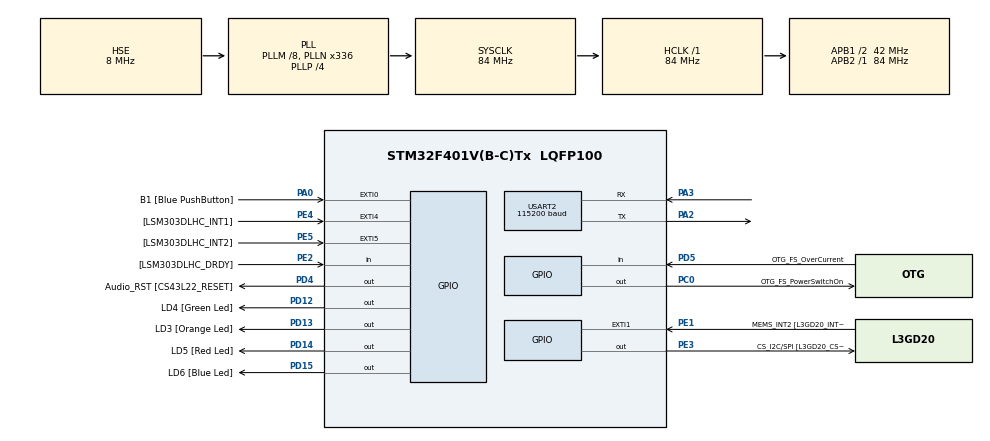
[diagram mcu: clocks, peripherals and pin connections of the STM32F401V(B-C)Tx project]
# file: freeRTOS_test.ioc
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Dma.Request0=USART2_TX
Dma.Request1=USART2_RX
Dma.USART2_RX.1.Channel=DMA_CHANNEL_4
Dma.USART2_RX.1.Direction=DMA_PERIPH_TO_MEMORY
Dma.USART2_RX.1.FIFOMode=DMA_FIFOMODE_DISABLE
Dma.USART2_RX.1.Instance=DMA1_Stream5
Dma.USART2_RX.1.MemDataAlignment=DMA_MDATAALIGN_BYTE
Dma.USART2_RX.1.MemInc=DMA_MINC_ENABLE
Dma.USART2_RX.1.Mode=DMA_NORMAL
Dma.USART2_RX.1.PeriphDataAlignment=DMA_PDATAALIGN_BYTE
Dma.USART2_RX.1.PeriphInc=DMA_PINC_DISABLE
Dma.USART2_RX.1.Priority=DMA_PRIORITY_LOW
Dma.USART2_TX.0.Channel=DMA_CHANNEL_4
Dma.USART2_TX.0.Direction=DMA_MEMORY_TO_PERIPH
Dma.USART2_TX.0.FIFOMode=DMA_FIFOMODE_DISABLE
Dma.USART2_TX.0.Instance=DMA1_Stream6
Dma.USART2_TX.0.MemDataAlignment=DMA_MDATAALIGN_BYTE
Dma.USART2_TX.0.MemInc=DMA_MINC_ENABLE
Dma.USART2_TX.0.Mode=DMA_NORMAL
Dma.USART2_TX.0.PeriphDataAlignment=DMA_PDATAALIGN_BYTE
Dma.USART2_TX.0.PeriphInc=DMA_PINC_DISABLE
Dma.USART2_TX.0.Priority=DMA_PRIORITY_LOW
FREERTOS.Tasks01=IndicatorTask,0,128,StartIndicatorTask;UARTReceiveTask,-3,128,StartUARTReceiveTask
Mcu.Family=STM32F4
Mcu.Name=STM32F401V(B-C)Tx
Mcu.Package=LQFP100
NVIC.DMA1_Stream5_IRQn=true\:5\:0\:false
NVIC.DMA1_Stream6_IRQn=true\:5\:0\:false
NVIC.PriorityGroup=NVIC_PRIORITYGROUP_4
NVIC.USART2_IRQn=true\:5\:0\:false
PA0-WKUP.GPIO_Label=B1 [Blue PushButton]
PA0-WKUP.GPIO_ModeDefaultEXTI=GPIO_MODE_EVT_RISING
PA0-WKUP.Signal=GPXTI0
PA10.GPIO_Label=OTG_FS_ID
PA10.Signal=USB_OTG_FS_ID
PA11.GPIO_Label=OTG_FS_DM
PA11.Signal=USB_OTG_FS_DM
PA12.GPIO_Label=OTG_FS_DP
PA12.Signal=USB_OTG_FS_DP
PA13.GPIO_Label=SWDIO
PA13.Mode=Trace-Asynchronous_SW
PA13.Signal=SYS_JTMS-SWDIO
PA14.GPIO_Label=SWCLK
PA14.Mode=Trace-Asynchronous_SW
PA14.Signal=SYS_JTCK-SWCLK
PA2.Mode=Asynchronous
PA2.Signal=USART2_TX
PA3.Mode=Asynchronous
PA3.Signal=USART2_RX
PA4.GPIO_Label=I2S3_WS [CS43L22_LRCK]
PA4.GPIO_Mode=GPIO_MODE_AF_PP
PA4.GPIO_PuPd=GPIO_NOPULL
PA4.GPIO_Speed=GPIO_SPEED_LOW
PA4.Signal=I2S3_WS
PA5.GPIO_Label=SPI1_SCK [L3GD20_SC/SPC]
PA5.Signal=SPI1_SCK
PA6.GPIO_Label=SPI1_MISO [L3GD20_AS0/SDO]
PA6.Signal=SPI1_MISO
PA7.GPIO_Label=SPI1_MISO [L3GD20_SDA/SDI/SDO]
PA7.Signal=SPI1_MOSI
PA9.GPIO_Label=VBUS_FS
PA9.Signal=USB_OTG_FS_VBUS
PB10.GPIO_Label=CLK_IN [MP45DT02_CLK]
PB10.Signal=I2S2_CK
PB12.Signal=I2S2_WS
PB3.GPIO_Label=SWO
PB3.Mode=Trace-Asynchronous_SW
PB3.Signal=SYS_JTDO-SWO
PB6.GPIO_Label=Audio_SCL [CS43L22_SCL]
PB6.GPIO_Mode=GPIO_MODE_AF_OD
PB6.GPIO_PuPd=GPIO_NOPULL
PB6.GPIO_Speed=GPIO_SPEED_LOW
PB6.Signal=I2C1_SCL
PB9.GPIO_Label=Audio_SDA [CS43L22_SDA]
PB9.GPIO_Mode=GPIO_MODE_AF_OD
PB9.GPIO_PuPd=GPIO_NOPULL
PB9.GPIO_Speed=GPIO_SPEED_LOW
PB9.Signal=I2C1_SDA
PC0.GPIO_Label=OTG_FS_PowerSwitchOn
PC0.Signal=GPIO_Output
PC10.GPIO_Label=I2S3_SCK [CS43L22_SCLK]
PC10.GPIO_Mode=GPIO_MODE_AF_PP
PC10.GPIO_PuPd=GPIO_NOPULL
PC10.GPIO_Speed=GPIO_SPEED_LOW
PC10.Signal=I2S3_CK
PC12.GPIO_Label=I2S3_SD [CS43L22_SDIN]
PC12.GPIO_Mode=GPIO_MODE_AF_PP
PC12.GPIO_PuPd=GPIO_NOPULL
PC12.GPIO_Speed=GPIO_SPEED_LOW
PC12.Signal=I2S3_SD
PC3.GPIO_Label=PDM_OUT [MP45DT02_DOUT]
PC3.Signal=I2S2_SD
PC7.GPIO_Label=I2S3_MCK [CS43L22_MCLK]
PC7.GPIO_Mode=GPIO_MODE_AF_PP
PC7.GPIO_PuPd=GPIO_NOPULL
PC7.GPIO_Speed=GPIO_SPEED_LOW
PC7.Signal=I2S3_MCK
PD12.GPIO_Label=LD4 [Green Led]
PD12.GPIO_PuPd=GPIO_NOPULL
PD12.GPIO_Speed=GPIO_SPEED_LOW
PD12.Signal=GPIO_Output
PD13.GPIO_Label=LD3 [Orange Led]
PD13.GPIO_PuPd=GPIO_NOPULL
PD13.GPIO_Speed=GPIO_SPEED_LOW
PD13.Signal=GPIO_Output
PD14.GPIO_Label=LD5 [Red Led]
PD14.GPIO_PuPd=GPIO_NOPULL
PD14.GPIO_Speed=GPIO_SPEED_LOW
PD14.Signal=GPIO_Output
PD15.GPIO_Label=LD6 [Blue Led]
PD15.GPIO_PuPd=GPIO_NOPULL
PD15.GPIO_Speed=GPIO_SPEED_LOW
PD15.Signal=GPIO_Output
PD4.GPIO_Label=Audio_RST [CS43L22_RESET]
PD4.Signal=GPIO_Output
PD5.GPIO_Label=OTG_FS_OverCurrent
PD5.Signal=GPIO_Input
PE1.GPIO_Label=MEMS_INT2 [L3GD20_INT2]
PE1.GPIO_ModeDefaultEXTI=GPIO_MODE_EVT_RISING
PE1.Signal=GPXTI1
PE2.GPIO_Label=[LSM303DLHC_DRDY]
PE2.Signal=GPIO_Input
PE3.GPIO_Label=CS_I2C/SPI [L3GD20_CS_I2C/SPI]
PE3.Signal=GPIO_Output
PE4.GPIO_Label=[LSM303DLHC_INT1]
PE4.GPIO_ModeDefaultEXTI=GPIO_MODE_EVT_RISING
PE4.Signal=GPXTI4
PE5.GPIO_Label=[LSM303DLHC_INT2]
PE5.GPIO_ModeDefaultEXTI=GPIO_MODE_EVT_RISING
PE5.Signal=GPXTI5
PH0\ -\ OSC_IN.GPIO_Label=PH0-OSC_IN
PH0\ -\ OSC_IN.Mode=HSE-External-Oscillator
PH0\ -\ OSC_IN.Signal=RCC_OSC_IN
PH1\ -\ OSC_OUT.GPIO_Label=PH1-OSC_OUT
PH1\ -\ OSC_OUT.Mode=HSE-External-Oscillator
PH1\ -\ OSC_OUT.Signal=RCC_OSC_OUT
ProjectManager.TargetToolchain=SW4STM32
RCC.48MHZClocksFreq_Value=48000000
RCC.AHBFreq_Value=84000000
RCC.APB1CLKDivider=RCC_HCLK_DIV2
RCC.APB1Freq_Value=42000000
RCC.APB1TimFreq_Value=84000000
RCC.APB2Freq_Value=84000000
RCC.APB2TimFreq_Value=84000000
RCC.CortexFreq_Value=84000000
RCC.HCLKFreq_Value=84000000
RCC.HSE_VALUE=8000000
RCC.HSI_VALUE=16000000
RCC.LSE_VALUE=32768
RCC.PLLM=8
RCC.PLLN=336
RCC.PLLP=RCC_PLLP_DIV4
RCC.PLLQ=7
RCC.PLLSourceVirtual=RCC_PLLSOURCE_HSE
RCC.SYSCLKFreq_VALUE=84000000
RCC.SYSCLKSource=RCC_SYSCLKSOURCE_PLLCLK
RCC.VCOOutputFreq_Value=336000000
USART2.BaudRate=115200
VP_FREERTOS_VS_ENABLE.Mode=Enabled
board=STM32F401C-DISCO

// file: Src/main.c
/**
  ******************************************************************************
  * File Name          : main.c
  * Description        : Main program body
  ******************************************************************************
  *
  * COPYRIGHT(c) 2016 STMicroelectronics
  *
  * Redistribution and use in source and binary forms, with or without modification,
  * are permitted provided that the following conditions are met:
  *   1. Redistributions of source code must retain the above copyright notice,
  *      this list of conditions and the following disclaimer.
  *   2. Redistributions in binary form must reproduce the above copyright notice,
  *      this list of conditions and the following disclaimer in the documentation
  *      and/or other materials provided with the distribution.
  *   3. Neither the name of STMicroelectronics nor the names of its contributors
  *      may be used to endorse or promote products derived from this software
  *      without specific prior written permission.
  *
  * THIS SOFTWARE IS PROVIDED BY THE COPYRIGHT HOLDERS AND CONTRIBUTORS "AS IS"
  * AND ANY EXPRESS OR IMPLIED WARRANTIES, INCLUDING, BUT NOT LIMITED TO, THE
  * IMPLIED WARRANTIES OF MERCHANTABILITY AND FITNESS FOR A PARTICULAR PURPOSE ARE
  * DISCLAIMED. IN NO EVENT SHALL THE COPYRIGHT HOLDER OR CONTRIBUTORS BE LIABLE
  * FOR ANY DIRECT, INDIRECT, INCIDENTAL, SPECIAL, EXEMPLARY, OR CONSEQUENTIAL
  * DAMAGES (INCLUDING, BUT NOT LIMITED TO, PROCUREMENT OF SUBSTITUTE GOODS OR
  * SERVICES; LOSS OF USE, DATA, OR PROFITS; OR BUSINESS INTERRUPTION) HOWEVER
  * CAUSED AND ON ANY THEORY OF LIABILITY, WHETHER IN CONTRACT, STRICT LIABILITY,
  * OR TORT (INCLUDING NEGLIGENCE OR OTHERWISE) ARISING IN ANY WAY OUT OF THE USE
  * OF THIS SOFTWARE, EVEN IF ADVISED OF THE POSSIBILITY OF SUCH DAMAGE.
  *
  ******************************************************************************
  */
#include "stm32f4xx_hal.h"
#include "cmsis_os.h"

/* USER CODE BEGIN Includes */
#include "stdlib.h"
/* USER CODE END Includes */

UART_HandleTypeDef huart2;
DMA_HandleTypeDef hdma_usart2_tx;
DMA_HandleTypeDef hdma_usart2_rx;

osThreadId IndicatorTaskHandle;
osThreadId UARTReceiveTaskHandle;

/* USER CODE BEGIN PV */
/* Private variables ---------------------------------------------------------*/

const uint16_t x_LEDS = GPIO_PIN_12 | GPIO_PIN_13 | GPIO_PIN_14 | GPIO_PIN_15;
const uint16_t x_LED[4] = {GPIO_PIN_12, GPIO_PIN_13, GPIO_PIN_14, GPIO_PIN_15};
/* USER CODE END PV */

void SystemClock_Config(void);
static void MX_GPIO_Init(void);
static void MX_DMA_Init(void);
static void MX_USART2_UART_Init(void);
void StartIndicatorTask(void const * argument);
void StartUARTReceiveTask(void const * argument);

/* USER CODE BEGIN PFP */
/* Private function prototypes -----------------------------------------------*/

static void errorHandler();
static void warnHandler();

/* USER CODE END PFP */

int main(void)
{

  /* MCU Configuration----------------------------------------------------------*/

  /* Reset of all peripherals, Initializes the Flash interface and the Systick. */
  HAL_Init();

  /* Configure the system clock */
  SystemClock_Config();

  /* Initialize all configured peripherals */
  MX_GPIO_Init();
  MX_DMA_Init();
  MX_USART2_UART_Init();

  /* Create the thread(s) */
  /* definition and creation of IndicatorTask */
  osThreadDef(IndicatorTask, StartIndicatorTask, osPriorityNormal, 0, 128);
  IndicatorTaskHandle = osThreadCreate(osThread(IndicatorTask), NULL);

  /* definition and creation of UARTReceiveTask */
  osThreadDef(UARTReceiveTask, StartUARTReceiveTask, osPriorityIdle, 0, 128);
  UARTReceiveTaskHandle = osThreadCreate(osThread(UARTReceiveTask), NULL);

  /* Start scheduler */
  osKernelStart();

  /* We should never get here as control is now taken by the scheduler */

  /* Infinite loop */
	while (1) {

	}

}

/** System Clock Configuration
*/
void SystemClock_Config(void)
{

  RCC_OscInitTypeDef RCC_OscInitStruct;
  RCC_ClkInitTypeDef RCC_ClkInitStruct;

  __PWR_CLK_ENABLE();

  __HAL_PWR_VOLTAGESCALING_CONFIG(PWR_REGULATOR_VOLTAGE_SCALE2);

  RCC_OscInitStruct.OscillatorType = RCC_OSCILLATORTYPE_HSE;
  RCC_OscInitStruct.HSEState = RCC_HSE_ON;
  RCC_OscInitStruct.PLL.PLLState = RCC_PLL_ON;
  RCC_OscInitStruct.PLL.PLLSource = RCC_PLLSOURCE_HSE;
  RCC_OscInitStruct.PLL.PLLM = 8;
  RCC_OscInitStruct.PLL.PLLN = 336;
  RCC_OscInitStruct.PLL.PLLP = RCC_PLLP_DIV4;
  RCC_OscInitStruct.PLL.PLLQ = 7;
  HAL_RCC_OscConfig(&RCC_OscInitStruct);

  RCC_ClkInitStruct.ClockType = RCC_CLOCKTYPE_SYSCLK|RCC_CLOCKTYPE_PCLK1;
  RCC_ClkInitStruct.SYSCLKSource = RCC_SYSCLKSOURCE_PLLCLK;
  RCC_ClkInitStruct.AHBCLKDivider = RCC_SYSCLK_DIV1;
  RCC_ClkInitStruct.APB1CLKDivider = RCC_HCLK_DIV2;
  RCC_ClkInitStruct.APB2CLKDivider = RCC_HCLK_DIV1;
  HAL_RCC_ClockConfig(&RCC_ClkInitStruct, FLASH_LATENCY_2);

  HAL_SYSTICK_Config(HAL_RCC_GetHCLKFreq()/1000);

  HAL_SYSTICK_CLKSourceConfig(SYSTICK_CLKSOURCE_HCLK);

  /* SysTick_IRQn interrupt configuration */
  HAL_NVIC_SetPriority(SysTick_IRQn, 15, 0);
}

/* USART2 init function */
void MX_USART2_UART_Init(void)
{

  huart2.Instance = USART2;
  huart2.Init.BaudRate = 115200;
  huart2.Init.WordLength = UART_WORDLENGTH_8B;
  huart2.Init.StopBits = UART_STOPBITS_1;
  huart2.Init.Parity = UART_PARITY_NONE;
  huart2.Init.Mode = UART_MODE_TX_RX;
  huart2.Init.HwFlowCtl = UART_HWCONTROL_NONE;
  huart2.Init.OverSampling = UART_OVERSAMPLING_16;
  HAL_UART_Init(&huart2);

}

void MX_DMA_Init(void)
{
  /* DMA controller clock enable */
  __DMA1_CLK_ENABLE();

  /* DMA interrupt init */
  HAL_NVIC_SetPriority(DMA1_Stream5_IRQn, 5, 0);
  HAL_NVIC_EnableIRQ(DMA1_Stream5_IRQn);
  HAL_NVIC_SetPriority(DMA1_Stream6_IRQn, 5, 0);
  HAL_NVIC_EnableIRQ(DMA1_Stream6_IRQn);

}

/** Configure pins as
        * Analog
        * Input
        * Output
        * EVENT_OUT
        * EXTI
     PC3   ------> I2S2_SD
     PA4   ------> I2S3_WS
     PA5   ------> SPI1_SCK
     PA6   ------> SPI1_MISO
     PA7   ------> SPI1_MOSI
     PB10   ------> I2S2_CK
     PB12   ------> I2S2_WS
     PC7   ------> I2S3_MCK
     PA9   ------> USB_OTG_FS_VBUS
     PA10   ------> USB_OTG_FS_ID
     PA11   ------> USB_OTG_FS_DM
     PA12   ------> USB_OTG_FS_DP
     PC10   ------> I2S3_CK
     PC12   ------> I2S3_SD
     PB6   ------> I2C1_SCL
     PB9   ------> I2C1_SDA
*/
void MX_GPIO_Init(void)
{

  GPIO_InitTypeDef GPIO_InitStruct;

  /* GPIO Ports Clock Enable */
  __GPIOE_CLK_ENABLE();
  __GPIOH_CLK_ENABLE();
  __GPIOC_CLK_ENABLE();
  __GPIOA_CLK_ENABLE();
  __GPIOB_CLK_ENABLE();
  __GPIOD_CLK_ENABLE();

  /*Configure GPIO pin : PE2 */
  GPIO_InitStruct.Pin = GPIO_PIN_2;
  GPIO_InitStruct.Mode = GPIO_MODE_INPUT;
  GPIO_InitStruct.Pull = GPIO_NOPULL;
  HAL_GPIO_Init(GPIOE, &GPIO_InitStruct);

  /*Configure GPIO pin : CS_I2C_SPI_Pin */
  GPIO_InitStruct.Pin = CS_I2C_SPI_Pin;
  GPIO_InitStruct.Mode = GPIO_MODE_OUTPUT_PP;
  GPIO_InitStruct.Pull = GPIO_NOPULL;
  GPIO_InitStruct.Speed = GPIO_SPEED_LOW;
  HAL_GPIO_Init(CS_I2C_SPI_GPIO_Port, &GPIO_InitStruct);

  /*Configure GPIO pins : PE4 PE5 MEMS_INT2_Pin */
  GPIO_InitStruct.Pin = GPIO_PIN_4|GPIO_PIN_5|MEMS_INT2_Pin;
  GPIO_InitStruct.Mode = GPIO_MODE_EVT_RISING;
  GPIO_InitStruct.Pull = GPIO_NOPULL;
  HAL_GPIO_Init(GPIOE, &GPIO_InitStruct);

  /*Configure GPIO pin : OTG_FS_PowerSwitchOn_Pin */
  GPIO_InitStruct.Pin = OTG_FS_PowerSwitchOn_Pin;
  GPIO_InitStruct.Mode = GPIO_MODE_OUTPUT_PP;
  GPIO_InitStruct.Pull = GPIO_NOPULL;
  GPIO_InitStruct.Speed = GPIO_SPEED_LOW;
  HAL_GPIO_Init(OTG_FS_PowerSwitchOn_GPIO_Port, &GPIO_InitStruct);

  /*Configure GPIO pin : PDM_OUT_Pin */
  GPIO_InitStruct.Pin = PDM_OUT_Pin;
  GPIO_InitStruct.Mode = GPIO_MODE_AF_PP;
  GPIO_InitStruct.Pull = GPIO_NOPULL;
  GPIO_InitStruct.Speed = GPIO_SPEED_LOW;
  GPIO_InitStruct.Alternate = GPIO_AF5_SPI2;
  HAL_GPIO_Init(PDM_OUT_GPIO_Port, &GPIO_InitStruct);

  /*Configure GPIO pin : B1_Pin */
  GPIO_InitStruct.Pin = B1_Pin;
  GPIO_InitStruct.Mode = GPIO_MODE_EVT_RISING;
  GPIO_InitStruct.Pull = GPIO_NOPULL;
  HAL_GPIO_Init(B1_GPIO_Port, &GPIO_InitStruct);

  /*Configure GPIO pin : PA4 */
  GPIO_InitStruct.Pin = GPIO_PIN_4;
  GPIO_InitStruct.Mode = GPIO_MODE_AF_PP;
  GPIO_InitStruct.Pull = GPIO_NOPULL;
  GPIO_InitStruct.Speed = GPIO_SPEED_LOW;
  GPIO_InitStruct.Alternate = GPIO_AF6_SPI3;
  HAL_GPIO_Init(GPIOA, &GPIO_InitStruct);

  /*Configure GPIO pins : PA5 PA6 SPI1_MISO_Pin */
  GPIO_InitStruct.Pin = GPIO_PIN_5|GPIO_PIN_6|SPI1_MISO_Pin;
  GPIO_InitStruct.Mode = GPIO_MODE_AF_PP;
  GPIO_InitStruct.Pull = GPIO_NOPULL;
  GPIO_InitStruct.Speed = GPIO_SPEED_HIGH;
  GPIO_InitStruct.Alternate = GPIO_AF5_SPI1;
  HAL_GPIO_Init(GPIOA, &GPIO_InitStruct);

  /*Configure GPIO pins : CLK_IN_Pin PB12 */
  GPIO_InitStruct.Pin = CLK_IN_Pin|GPIO_PIN_12;
  GPIO_InitStruct.Mode = GPIO_MODE_AF_PP;
  GPIO_InitStruct.Pull = GPIO_NOPULL;
  GPIO_InitStruct.Speed = GPIO_SPEED_LOW;
  GPIO_InitStruct.Alternate = GPIO_AF5_SPI2;
  HAL_GPIO_Init(GPIOB, &GPIO_InitStruct);

  /*Configure GPIO pins : LD4_Pin LD3_Pin LD5_Pin LD6_Pin
                           Audio_RST_Pin */
  GPIO_InitStruct.Pin = LD4_Pin|LD3_Pin|LD5_Pin|LD6_Pin
                          |Audio_RST_Pin;
  GPIO_InitStruct.Mode = GPIO_MODE_OUTPUT_PP;
  GPIO_InitStruct.Pull = GPIO_NOPULL;
  GPIO_InitStruct.Speed = GPIO_SPEED_LOW;
  HAL_GPIO_Init(GPIOD, &GPIO_InitStruct);

  /*Configure GPIO pins : PC7 I2S3_SCK_Pin PC12 */
  GPIO_InitStruct.Pin = GPIO_PIN_7|I2S3_SCK_Pin|GPIO_PIN_12;
  GPIO_InitStruct.Mode = GPIO_MODE_AF_PP;
  GPIO_InitStruct.Pull = GPIO_NOPULL;
  GPIO_InitStruct.Speed = GPIO_SPEED_LOW;
  GPIO_InitStruct.Alternate = GPIO_AF6_SPI3;
  HAL_GPIO_Init(GPIOC, &GPIO_InitStruct);

  /*Configure GPIO pin : VBUS_FS_Pin */
  GPIO_InitStruct.Pin = VBUS_FS_Pin;
  GPIO_InitStruct.Mode = GPIO_MODE_INPUT;
  GPIO_InitStruct.Pull = GPIO_NOPULL;
  HAL_GPIO_Init(VBUS_FS_GPIO_Port, &GPIO_InitStruct);

  /*Configure GPIO pins : OTG_FS_ID_Pin OTG_FS_DM_Pin OTG_FS_DP_Pin */
  GPIO_InitStruct.Pin = OTG_FS_ID_Pin|OTG_FS_DM_Pin|OTG_FS_DP_Pin;
  GPIO_InitStruct.Mode = GPIO_MODE_AF_PP;
  GPIO_InitStruct.Pull = GPIO_NOPULL;
  GPIO_InitStruct.Speed = GPIO_SPEED_HIGH;
  GPIO_InitStruct.Alternate = GPIO_AF10_OTG_FS;
  HAL_GPIO_Init(GPIOA, &GPIO_InitStruct);

  /*Configure GPIO pin : OTG_FS_OverCurrent_Pin */
  GPIO_InitStruct.Pin = OTG_FS_OverCurrent_Pin;
  GPIO_InitStruct.Mode = GPIO_MODE_INPUT;
  GPIO_InitStruct.Pull = GPIO_NOPULL;
  HAL_GPIO_Init(OTG_FS_OverCurrent_GPIO_Port, &GPIO_InitStruct);

  /*Configure GPIO pins : Audio_SCL_Pin Audio_SDA_Pin */
  GPIO_InitStruct.Pin = Audio_SCL_Pin|Audio_SDA_Pin;
  GPIO_InitStruct.Mode = GPIO_MODE_AF_OD;
  GPIO_InitStruct.Pull = GPIO_PULLUP;
  GPIO_InitStruct.Speed = GPIO_SPEED_LOW;
  GPIO_InitStruct.Alternate = GPIO_AF4_I2C1;
  HAL_GPIO_Init(GPIOB, &GPIO_InitStruct);

}

/* USER CODE BEGIN 4 */
void errorHandler() {
	vTaskSuspendAll();

	HAL_GPIO_WritePin(GPIOD, V_LED_GREEN, GPIO_PIN_RESET);
	HAL_GPIO_WritePin(GPIOD, V_LED_ORANGE, GPIO_PIN_RESET);
	HAL_GPIO_WritePin(GPIOD, V_LED_BLUE, GPIO_PIN_RESET);

	HAL_GPIO_WritePin(GPIOD, V_LED_RED, GPIO_PIN_SET);

	vTaskSuspendAll();
}

void warnHandler() {
	HAL_GPIO_WritePin(GPIOD, V_LED_ORANGE, GPIO_PIN_SET);
}
/* USER CODE END 4 */

/* StartIndicatorTask function */
void StartIndicatorTask(void const * argument)
{

  /* USER CODE BEGIN 5 */
  /* Infinite loop */
	for (;;) {
		HAL_GPIO_WritePin(GPIOD, V_LED_GREEN, GPIO_PIN_SET);

		osDelay(1000);

		HAL_GPIO_WritePin(GPIOD, V_LED_GREEN, GPIO_PIN_RESET);

		osDelay(1000);
	}
  /* USER CODE END 5 */
}

/* StartUARTReceiveTask function */
void StartUARTReceiveTask(void const * argument)
{
  /* USER CODE BEGIN StartUARTReceiveTask */
  /* Infinite loop */
	uint8_t *data = malloc(sizeof(uint8_t));

	int BUFFER_SIZE = 1;

	for (;;) {

//		if (HAL_UART_GetState(&huart2) == HAL_UART_STATE_READY) {

			HAL_StatusTypeDef status = HAL_UART_Receive_DMA(&huart2, data, BUFFER_SIZE);

			if (status != HAL_OK) {
				errorHandler();
			}

			for (uint8_t doneReceiveDMA=0; !doneReceiveDMA;) {
				HAL_DMA_StateTypeDef DMAstate = HAL_DMA_GetState(&hdma_usart2_rx);

				switch(DMAstate) {

				case HAL_DMA_STATE_READY_MEM0:
				case HAL_DMA_STATE_READY_MEM1:
					//we received data. Let's do return it back to UART

					for (uint8_t doneTransmitDMA=0; !doneTransmitDMA; ) {
						HAL_UART_StateTypeDef uartState = HAL_UART_GetState(&huart2);

						if (uartState == HAL_UART_STATE_READY || uartState == HAL_UART_STATE_BUSY_RX) {
						HAL_StatusTypeDef transmitStatus =
								HAL_UART_Transmit_DMA(&huart2, data, BUFFER_SIZE);

							if (transmitStatus != HAL_OK) {
								errorHandler();
							}

							doneTransmitDMA = 1;
						}
					}

					doneReceiveDMA = 1;

					break;

				case HAL_DMA_STATE_BUSY:
					break;

				case HAL_DMA_STATE_READY:
					//strange state of DMA.

				default:
					warnHandler();
				}
			}

		osDelay(1);
	}
  /* USER CODE END StartUARTReceiveTask */
}

/************************ (C) COPYRIGHT STMicroelectronics *****END OF FILE****/
